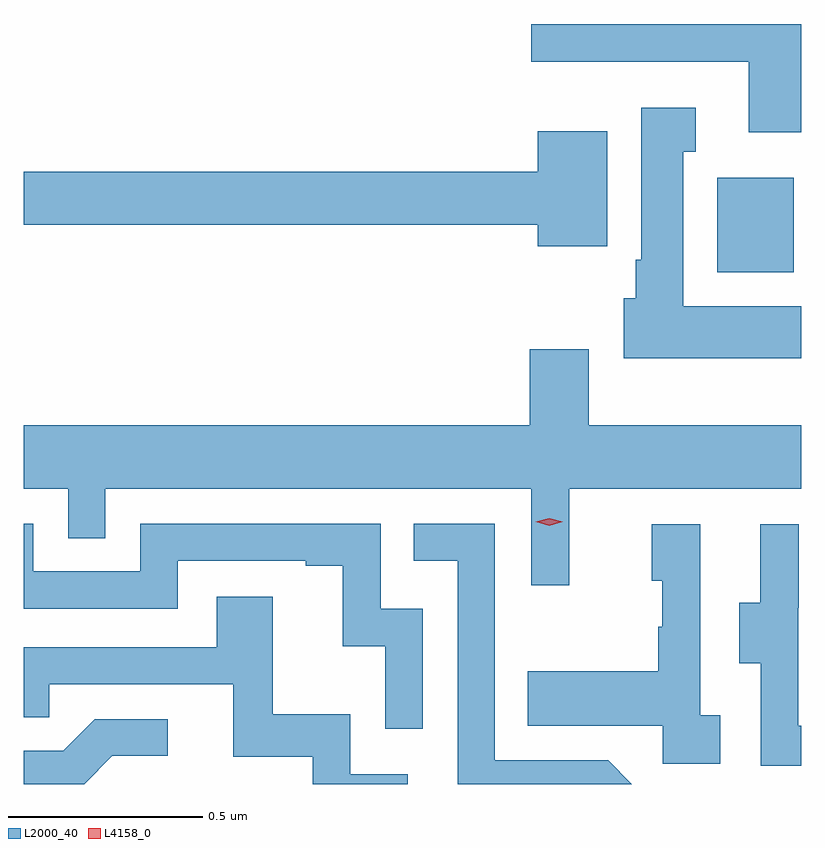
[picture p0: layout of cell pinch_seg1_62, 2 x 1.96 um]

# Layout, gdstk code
import gdstk
lib = gdstk.Library(unit=1e-6, precision=1e-09)
def R(c, l, rs):  # rectangles x0, y0, x1, y1
    for r in rs: c.add(gdstk.rectangle(r[:2], r[2:], *l))
def P(c, l, *ps):  # polygons
    for p in ps: c.add(gdstk.Polygon(p, *l))
L2000_40 = (2000, 40)
L4158_0 = (4158, 0)

pinch_seg1_62 = lib.new_cell('pinch_seg1_62')
R(pinch_seg1_62, L2000_40, [(1025.834,572.27,1026.031,572.512)])
P(pinch_seg1_62, L2000_40, [(1026.05,572.908),(1025.355,572.908),(1025.355,572.811),(1025.915,572.811),(1025.915,572.63),(1026.05,572.63)],
  [(1026.05,572.182),(1025.746,572.182),(1025.746,572.579),(1025.779,572.579),(1025.779,572.692),(1025.639,572.692),(1025.639,572.302),(1025.624,572.302),(1025.624,572.202),(1025.594,572.202),(1025.594,572.048),(1026.05,572.048)],
  [(1025.551,572.632),(1025.372,572.632),(1025.372,572.528),(1024.05,572.528),(1024.05,572.392),(1025.372,572.392),(1025.372,572.336),(1025.551,572.336)],
  [(1025.453,571.712),(1026.05,571.712),(1026.05,571.876),(1025.503,571.876),(1025.503,572.071),(1025.351,572.071),(1025.351,571.876),(1024.05,571.876),(1024.05,571.712),(1024.164,571.712),(1024.164,571.585),(1024.26,571.585),(1024.26,571.712),(1025.355,571.712),(1025.355,571.464),(1025.453,571.464)],
  [(1025.076,571.404),(1024.968,571.404),(1024.968,571.623),(1024.35,571.623),(1024.35,571.5),(1024.074,571.5),(1024.074,571.623),(1024.05,571.623),(1024.05,571.404),(1024.446,571.404),(1024.446,571.527),(1024.775,571.527),(1024.775,571.515),(1024.871,571.515),(1024.871,571.307),(1024.98,571.307),(1024.98,571.095),(1025.076,571.095)],
  [(1025.553,571.014),(1025.262,571.014),(1025.262,571.623),(1025.053,571.623),(1025.053,571.527),(1025.166,571.527),(1025.166,570.953),(1025.614,570.953)],
  [(1025.842,571.13),(1025.79,571.13),(1025.79,571.621),(1025.666,571.621),(1025.666,571.476),(1025.692,571.476),(1025.692,571.358),(1025.682,571.358),(1025.682,571.243),(1025.347,571.243),(1025.347,571.103),(1025.694,571.103),(1025.694,571.005),(1025.842,571.005)],
  [(1026.05,571.103),(1026.042,571.103),(1026.042,571.407),(1026.044,571.407),(1026.044,571.621),(1025.945,571.621),(1025.945,571.419),(1025.891,571.419),(1025.891,571.264),(1025.946,571.264),(1025.946,571),(1026.05,571)],
  [(1025.038,570.978),(1024.89,570.978),(1024.89,571.132),(1024.691,571.132),(1024.691,571.435),(1024.547,571.435),(1024.547,571.305),(1024.05,571.305),(1024.05,571.125),(1024.115,571.125),(1024.115,571.209),(1024.589,571.209),(1024.589,571.023),(1024.794,571.023),(1024.794,570.953),(1025.038,570.953)],
  [(1024.278,571.026),(1024.42,571.026),(1024.42,571.119),(1024.232,571.119),(1024.151,571.038),(1024.05,571.038),(1024.05,570.953),(1024.205,570.953)])
P(pinch_seg1_62, L4158_0, [(1025.402,571.617),(1025.367,571.627),(1025.367,571.627),(1025.367,571.627),(1025.402,571.637),(1025.437,571.627),(1025.437,571.627),(1025.437,571.627)])

lib.write_gds('pinch_seg1_62.gds')
